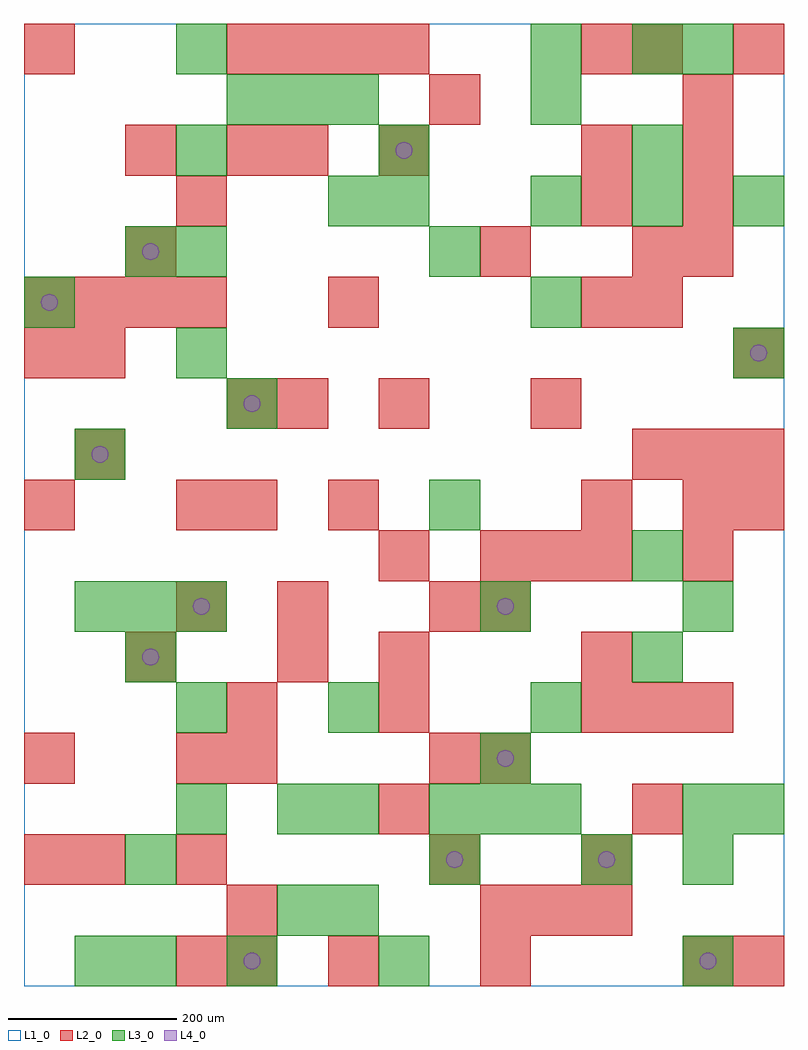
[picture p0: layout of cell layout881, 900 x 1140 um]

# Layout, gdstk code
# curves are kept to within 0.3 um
import gdstk
lib = gdstk.Library(unit=1e-6, precision=1e-09)
def R(c, l, rs):  # rectangles x0, y0, x1, y1
    for r in rs: c.add(gdstk.rectangle(r[:2], r[2:], *l))
def A(c, l, x, y, w, h, nx, ny, dx, dy):  # array of equal rectangles
    R(c, l, [(x+i*dx, y+j*dy, x+i*dx+w, y+j*dy+h) for i in range(nx) for j in range(ny)])
def P(c, l, *ps):  # polygons
    for p in ps: c.add(gdstk.Polygon(p, *l))
L1_0 = (1, 0)
L2_0 = (2, 0)
L3_0 = (3, 0)
L4_0 = (4, 0)

layout881 = lib.new_cell('layout881')
R(layout881, L1_0, [(0,0,900,1140)])
A(layout881, L2_0, 180, 0, 60, 60, 1, 3, 0, 120)
A(layout881, L2_0, 540, 60, 60, 60, 3, 2, 60, 420)
A(layout881, L2_0, 660, 300, 60, 60, 3, 1, 60, 0)
A(layout881, L2_0, 720, 600, 60, 60, 3, 1, 60, 0)
A(layout881, L2_0, 0, 780, 60, 60, 4, 1, 60, 0)
A(layout881, L2_0, 780, 840, 60, 60, 1, 4, 0, 60)
A(layout881, L2_0, 240, 1080, 60, 60, 4, 1, 60, 0)
R(layout881, L2_0, [(240,0,300,60), (360,0,420,60), (540,0,600,60), (780,0,840,60), (840,0,900,60), (240,60,300,120), (0,120,60,180), (60,120,120,180), (480,120,540,180), (660,120,720,180), (420,180,480,240), (720,180,780,240), (0,240,60,300), (240,240,300,300), (480,240,540,300), (540,240,600,300), (240,300,300,360), (420,300,480,360), (120,360,180,420), (300,360,360,420), (420,360,480,420), (660,360,720,420), (180,420,240,480), (300,420,360,480), (480,420,540,480), (540,420,600,480), (420,480,480,540), (780,480,840,540), (0,540,60,600), (180,540,240,600), (240,540,300,600), (360,540,420,600), (660,540,720,600), (780,540,840,600), (840,540,900,600), (60,600,120,660), (240,660,300,720), (300,660,360,720), (420,660,480,720), (600,660,660,720), (0,720,60,780), (60,720,120,780), (840,720,900,780), (360,780,420,840), (660,780,720,840), (720,780,780,840), (120,840,180,900), (540,840,600,900), (720,840,780,900), (180,900,240,960), (660,900,720,960), (120,960,180,1020), (240,960,300,1020), (300,960,360,1020), (420,960,480,1020), (660,960,720,1020), (480,1020,540,1080), (0,1080,60,1140), (660,1080,720,1140), (720,1080,780,1140), (840,1080,900,1140)])
A(layout881, L3_0, 360, 60, 60, 60, 1, 3, 0, 120)
A(layout881, L3_0, 480, 180, 60, 60, 3, 1, 60, 0)
A(layout881, L3_0, 60, 420, 60, 60, 3, 1, 60, 0)
A(layout881, L3_0, 180, 720, 60, 60, 1, 4, 0, 120)
A(layout881, L3_0, 600, 900, 60, 60, 3, 1, 120, 0)
A(layout881, L3_0, 240, 1020, 60, 60, 3, 1, 60, 0)
R(layout881, L3_0, [(60,0,120,60), (120,0,180,60), (240,0,300,60), (420,0,480,60), (780,0,840,60), (300,60,360,120), (120,120,180,180), (480,120,540,180), (660,120,720,180), (780,120,840,180), (180,180,240,240), (300,180,360,240), (780,180,840,240), (840,180,900,240), (540,240,600,300), (180,300,240,360), (600,300,660,360), (120,360,180,420), (720,360,780,420), (540,420,600,480), (780,420,840,480), (720,480,780,540), (480,540,540,600), (60,600,120,660), (240,660,300,720), (840,720,900,780), (0,780,60,840), (600,780,660,840), (120,840,180,900), (480,840,540,900), (360,900,420,960), (420,900,480,960), (420,960,480,1020), (720,960,780,1020), (600,1020,660,1080), (600,1080,660,1140), (720,1080,780,1140), (780,1080,840,1140)])
P(layout881, L4_0, [(40,810),(39.239,813.827),(37.071,817.071),(33.827,819.239),(30,820),(26.173,819.239),(22.929,817.071),(20.761,813.827),(20,810),(20.761,806.173),(22.929,802.929),(26.173,800.761),(30,800),(33.827,800.761),(37.071,802.929),(39.239,806.173)],
  [(100,630),(99.239,633.827),(97.071,637.071),(93.827,639.239),(90,640),(86.173,639.239),(82.929,637.071),(80.761,633.827),(80,630),(80.761,626.173),(82.929,622.929),(86.173,620.761),(90,620),(93.827,620.761),(97.071,622.929),(99.239,626.173)],
  [(160,390),(159.239,393.827),(157.071,397.071),(153.827,399.239),(150,400),(146.173,399.239),(142.929,397.071),(140.761,393.827),(140,390),(140.761,386.173),(142.929,382.929),(146.173,380.761),(150,380),(153.827,380.761),(157.071,382.929),(159.239,386.173)],
  [(160,870),(159.239,873.827),(157.071,877.071),(153.827,879.239),(150,880),(146.173,879.239),(142.929,877.071),(140.761,873.827),(140,870),(140.761,866.173),(142.929,862.929),(146.173,860.761),(150,860),(153.827,860.761),(157.071,862.929),(159.239,866.173)],
  [(220,450),(219.239,453.827),(217.071,457.071),(213.827,459.239),(210,460),(206.173,459.239),(202.929,457.071),(200.761,453.827),(200,450),(200.761,446.173),(202.929,442.929),(206.173,440.761),(210,440),(213.827,440.761),(217.071,442.929),(219.239,446.173)],
  [(280,30),(279.239,33.827),(277.071,37.071),(273.827,39.239),(270,40),(266.173,39.239),(262.929,37.071),(260.761,33.827),(260,30),(260.761,26.173),(262.929,22.929),(266.173,20.761),(270,20),(273.827,20.761),(277.071,22.929),(279.239,26.173)],
  [(280,690),(279.239,693.827),(277.071,697.071),(273.827,699.239),(270,700),(266.173,699.239),(262.929,697.071),(260.761,693.827),(260,690),(260.761,686.173),(262.929,682.929),(266.173,680.761),(270,680),(273.827,680.761),(277.071,682.929),(279.239,686.173)],
  [(460,990),(459.239,993.827),(457.071,997.071),(453.827,999.239),(450,1000),(446.173,999.239),(442.929,997.071),(440.761,993.827),(440,990),(440.761,986.173),(442.929,982.929),(446.173,980.761),(450,980),(453.827,980.761),(457.071,982.929),(459.239,986.173)],
  [(520,150),(519.239,153.827),(517.071,157.071),(513.827,159.239),(510,160),(506.173,159.239),(502.929,157.071),(500.761,153.827),(500,150),(500.761,146.173),(502.929,142.929),(506.173,140.761),(510,140),(513.827,140.761),(517.071,142.929),(519.239,146.173)],
  [(580,270),(579.239,273.827),(577.071,277.071),(573.827,279.239),(570,280),(566.173,279.239),(562.929,277.071),(560.761,273.827),(560,270),(560.761,266.173),(562.929,262.929),(566.173,260.761),(570,260),(573.827,260.761),(577.071,262.929),(579.239,266.173)],
  [(580,450),(579.239,453.827),(577.071,457.071),(573.827,459.239),(570,460),(566.173,459.239),(562.929,457.071),(560.761,453.827),(560,450),(560.761,446.173),(562.929,442.929),(566.173,440.761),(570,440),(573.827,440.761),(577.071,442.929),(579.239,446.173)],
  [(700,150),(699.239,153.827),(697.071,157.071),(693.827,159.239),(690,160),(686.173,159.239),(682.929,157.071),(680.761,153.827),(680,150),(680.761,146.173),(682.929,142.929),(686.173,140.761),(690,140),(693.827,140.761),(697.071,142.929),(699.239,146.173)],
  [(820,30),(819.239,33.827),(817.071,37.071),(813.827,39.239),(810,40),(806.173,39.239),(802.929,37.071),(800.761,33.827),(800,30),(800.761,26.173),(802.929,22.929),(806.173,20.761),(810,20),(813.827,20.761),(817.071,22.929),(819.239,26.173)],
  [(880,750),(879.239,753.827),(877.071,757.071),(873.827,759.239),(870,760),(866.173,759.239),(862.929,757.071),(860.761,753.827),(860,750),(860.761,746.173),(862.929,742.929),(866.173,740.761),(870,740),(873.827,740.761),(877.071,742.929),(879.239,746.173)])

lib.write_gds('layout881.gds')
